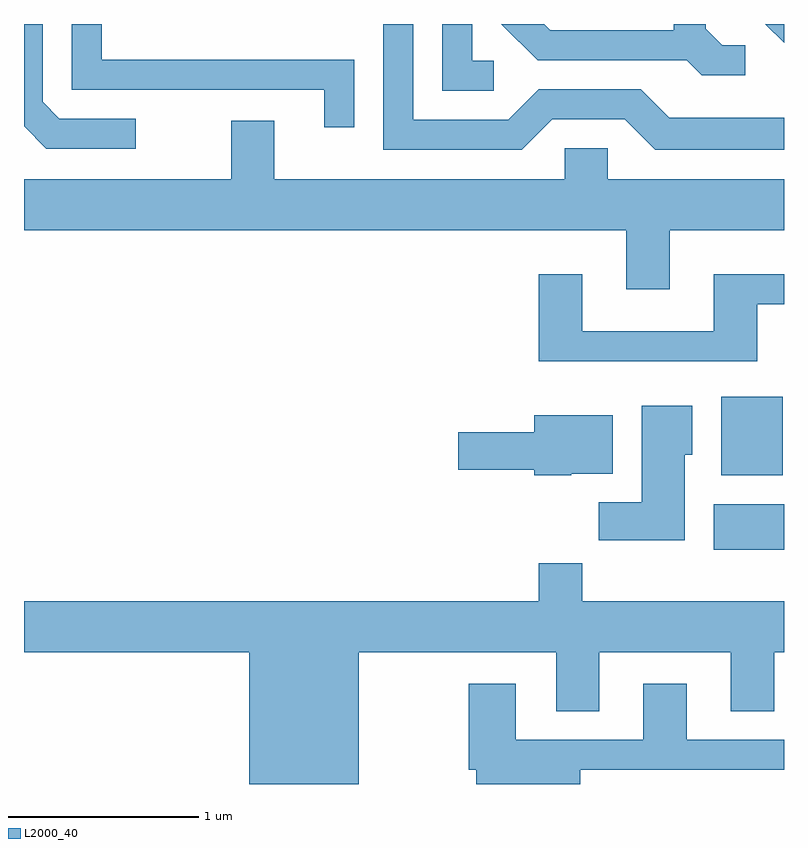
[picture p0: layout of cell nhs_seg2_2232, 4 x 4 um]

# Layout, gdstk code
import gdstk
lib = gdstk.Library(unit=1e-6, precision=1e-09)
def R(c, l, rs):  # rectangles x0, y0, x1, y1
    for r in rs: c.add(gdstk.rectangle(r[:2], r[2:], *l))
def P(c, l, *ps):  # polygons
    for p in ps: c.add(gdstk.Polygon(p, *l))
L2000_40 = (2000, 40)

nhs_seg2_2232 = lib.new_cell('nhs_seg2_2232')
R(nhs_seg2_2232, L2000_40, [(253.241,1091.036,253.611,1091.274), (253.281,1091.426,253.604,1091.839)])
P(nhs_seg2_2232, L2000_40, [(252.083,1093.609),(251.969,1093.609),(251.969,1093.802),(251.811,1093.802),(251.811,1093.451),(252.083,1093.451)],
  [(250.198,1093.304),(249.797,1093.304),(249.709,1093.392),(249.709,1093.802),(249.611,1093.802),(249.611,1093.264),(249.729,1093.146),(250.198,1093.146)],
  [(251.349,1093.614),(250.019,1093.614),(250.019,1093.802),(249.861,1093.802),(249.861,1093.456),(251.191,1093.456),(251.191,1093.258),(251.349,1093.258)],
  [(253.408,1093.689),(253.287,1093.689),(253.199,1093.777),(253.199,1093.802),(253.031,1093.802),(253.031,1093.769),(252.382,1093.769),(252.349,1093.802),(252.123,1093.802),(252.314,1093.611),(253.099,1093.611),(253.179,1093.531),(253.408,1093.531)],
  [(252.392,1093.301),(252.774,1093.301),(252.934,1093.141),(253.611,1093.141),(253.611,1093.309),(253.007,1093.309),(252.857,1093.459),(252.319,1093.459),(252.159,1093.299),(251.659,1093.299),(251.659,1093.802),(251.501,1093.802),(251.501,1093.141),(252.232,1093.141)],
  [(253.611,1093.802),(253.513,1093.802),(253.611,1093.704)],
  [(253.009,1092.716),(253.611,1092.716),(253.611,1092.984),(252.684,1092.984),(252.684,1093.149),(252.456,1093.149),(252.456,1092.984),(250.929,1092.984),(250.929,1093.294),(250.701,1093.294),(250.701,1092.984),(249.611,1092.984),(249.611,1092.716),(252.781,1092.716),(252.781,1092.406),(253.009,1092.406)],
  [(253.469,1092.326),(253.611,1092.326),(253.611,1092.484),(253.241,1092.484),(253.241,1092.184),(252.549,1092.184),(252.549,1092.484),(252.321,1092.484),(252.321,1092.026),(253.469,1092.026)],
  [(253.089,1091.536),(253.129,1091.536),(253.129,1091.794),(252.861,1091.794),(252.861,1091.284),(252.636,1091.284),(252.636,1091.086),(253.089,1091.086)],
  [(252.49,1091.436),(252.709,1091.436),(252.709,1091.744),(252.296,1091.744),(252.296,1091.654),(251.896,1091.654),(251.896,1091.456),(252.296,1091.456),(252.296,1091.426),(252.49,1091.426)],
  [(251.374,1090.496),(252.411,1090.496),(252.411,1090.186),(252.639,1090.186),(252.639,1090.496),(253.331,1090.496),(253.331,1090.186),(253.559,1090.186),(253.559,1090.496),(253.611,1090.496),(253.611,1090.764),(252.549,1090.764),(252.549,1090.964),(252.321,1090.964),(252.321,1090.764),(249.611,1090.764),(249.611,1090.496),(250.796,1090.496),(250.796,1089.802),(251.374,1089.802)],
  [(252.539,1089.876),(253.611,1089.876),(253.611,1090.034),(253.099,1090.034),(253.099,1090.329),(252.871,1090.329),(252.871,1090.034),(252.199,1090.034),(252.199,1090.329),(251.951,1090.329),(251.951,1089.876),(251.991,1089.876),(251.991,1089.802),(252.539,1089.802)])

lib.write_gds('nhs_seg2_2232.gds')
